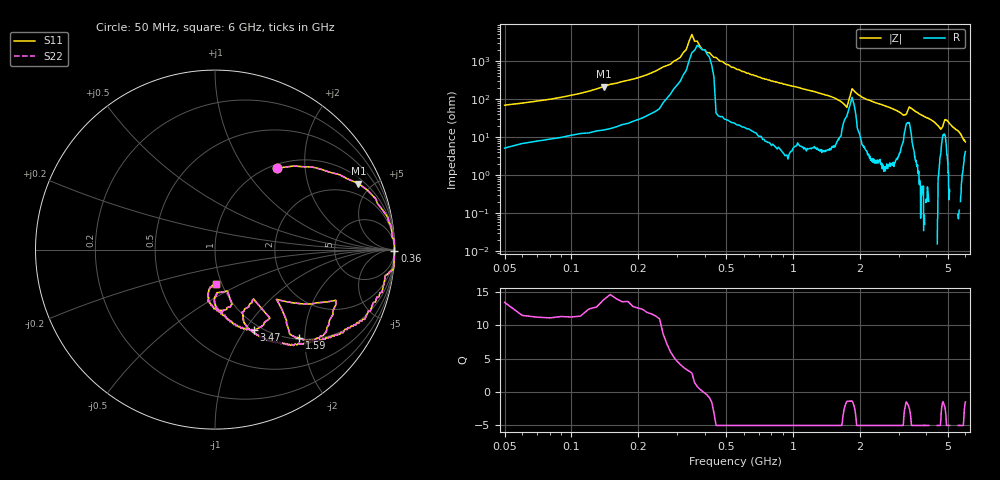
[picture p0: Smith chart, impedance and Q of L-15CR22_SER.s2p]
# MHZ S MA R 50
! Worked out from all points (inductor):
!   596 points, 50 MHz to 6 GHz, reference 50 ohm
!   read as one part in series: L = 189 nH near 70 MHz
!   highest Q = 12.8 at 140 MHz (marker M1), where L = 243 nH
!   self-resonance near 394.5 MHz
!   S11 on the Smith chart (normalised r, x): 50 MHz: 1.06, +1.43; 360 MHz: open; 1.59 GHz: 1.02, -1.88; 3.47 GHz: 0.92, -1.11; 6 GHz: 0.94, -0.37
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50  0.57 53.0  0.8 -31.9  0.8 -31.9  0.57 53.0
140  0.88 24.7  0.41 -61.2  0.41 -61.2  0.88 24.7
290  0.99 4.7  0.1 -74.4  0.1 -74.4  0.99 4.7
340  1 1.0  0.03 -71.1  0.03 -71.1  1 1.0
360  1 -0.4  0.03 -55.2  0.03 -55.2  1 -0.4
450  1 -6.4  0.08 81.6  0.08 81.6  1 -6.4
570  0.96 -10.0  0.16 78.1  0.16 78.1  0.96 -10.0
750  0.94 -17.7  0.28 71.1  0.28 71.1  0.94 -17.7
1050  0.89 -27.3  0.43 60.7  0.43 60.7  0.89 -27.3
1590  0.68 -46.4  0.68 39.0  0.68 39.0  0.68 -46.4
1740  0.46 -39.9  0.69 19.2  0.69 19.2  0.46 -39.9
1840  0.7 -24.4  0.41 30.1  0.41 30.1  0.7 -24.4
2040  0.74 -43.7  0.62 42.8  0.62 42.8  0.74 -43.7
3030  0.44 -68.1  0.85 19.0  0.85 19.0  0.44 -68.1
3250  0.35 -52.0  0.76 10.3  0.76 10.3  0.35 -52.0
3350  0.49 -51.3  0.7 19.5  0.7 19.5  0.49 -51.3
3470  0.5 -64.1  0.8 21.5  0.8 21.5  0.5 -64.1
4020  0.38 -81.2  0.89 12.7  0.89 12.7  0.38 -81.2
4660  0.24 -85.8  0.89 2.4  0.89 2.4  0.24 -85.8
4840  0.31 -72.8  0.81 5.7  0.81 5.7  0.31 -72.8
5010  0.34 -87.5  0.88 7.6  0.88 7.6  0.34 -87.5
6000  0.19 -89.1  0.92 -4.7  0.92 -4.7  0.19 -89.1
